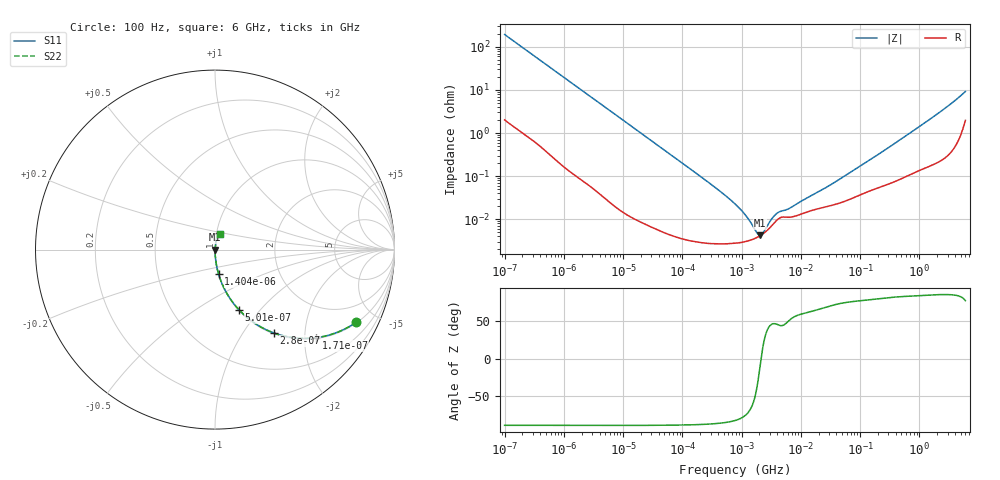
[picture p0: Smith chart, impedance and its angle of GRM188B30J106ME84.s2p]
!Murata Part Number: GRM188B30J106ME84
!These Parameters are Measured in Series Mode Connection
!Data Generated on Mar 30, 2021
!  o--ll--o
!Port1  Port2
!  o------o
!Operation Temp=25[degC], DC Bias Voltage=0[V]
!Freq. Start=100[Hz] Stop=6[GHz] 401[Steps]
# Hz S RI R 50
!Freq.(Hz) S11(Real) S11(Imag) S21(Real) S21(Imag) S12(Real) S12(Imag) S22(Real) S22(Imag)
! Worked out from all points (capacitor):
!   401 points, 100 Hz to 6 GHz, reference 50 ohm
!   read as one part in series: C = 8.19 uF near 109 Hz
!   lowest |Z| = 4.21 mohm at 2.074 MHz (marker M1)
!   series resonance near 2.135 MHz, so ESL is about 680 pH
!   S11 on the Smith chart (normalised r, x): 100 Hz: 1.04, -3.88; 171 Hz: 1.02, -2.27; 280 Hz: 1.01, -1.39; 501 Hz: 1.01, -0.78; 1.404 kHz: 1.00, -0.28; 6 GHz: 1.04, +0.18
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100  0.7873 -0.404  0.2127 0.404  0.2127 0.404  0.7873 -0.404
120  0.7226 -0.4426  0.2774 0.4426  0.2774 0.4426  0.7226 -0.4426
171  0.563 -0.4909  0.437 0.4909  0.437 0.4909  0.563 -0.4909
280  0.3286 -0.4645  0.6714 0.4645  0.6714 0.4645  0.3286 -0.4645
501  0.135 -0.337  0.865 0.337  0.865 0.337  0.135 -0.337
784  0.0608 -0.2348  0.9392 0.2348  0.9392 0.2348  0.0608 -0.2348
1404  0.0204 -0.1373  0.9796 0.1373  0.9796 0.1373  0.0204 -0.1373
2008  0.0103 -0.0972  0.9897 0.0972  0.9897 0.0972  0.0103 -0.0972
6433  0.00118 -0.0308  0.9988 0.0308  0.9988 0.0308  0.00118 -0.0308
40335  7.92e-05 -0.00495  0.9999 0.00495  0.9999 0.00495  7.92e-05 -0.00495
316350  2.75e-05 -0.000621  1 0.000621  1 0.000621  2.75e-05 -0.000621
774597  2.77e-05 -0.000225  1 0.000225  1 0.000225  2.77e-05 -0.000225
1325623  3.18e-05 -9.26e-05  1 9.26e-05  1 9.26e-05  3.18e-05 -9.26e-05
2074311  4.18e-05 -5.3e-06  1 5.3e-06  1 5.3e-06  4.18e-05 -5.3e-06
3103719  6.65e-05 6.7e-05  0.9999 -6.7e-05  0.9999 -6.7e-05  6.65e-05 6.7e-05
4246196  0.000103 0.000103  0.9999 -0.000103  0.9999 -0.000103  0.000103 0.000103
6353432  0.000111 0.000138  0.9999 -0.000138  0.9999 -0.000138  0.000111 0.000138
1.555665e7  0.000161 0.000324  0.9998 -0.000324  0.9998 -0.000324  0.000161 0.000324
3.983537e7  0.000225 0.000727  0.9998 -0.000727  0.9998 -0.000727  0.000225 0.000727
3.124326e8  0.000686 0.00468  0.9993 -0.00468  0.9993 -0.00468  0.000686 0.00468
1.873145e9  0.0026 0.0256  0.9974 -0.0256  0.9974 -0.0256  0.0026 0.0256
6e9  0.0268 0.0859  0.9732 -0.0859  0.9732 -0.0859  0.0268 0.0859
